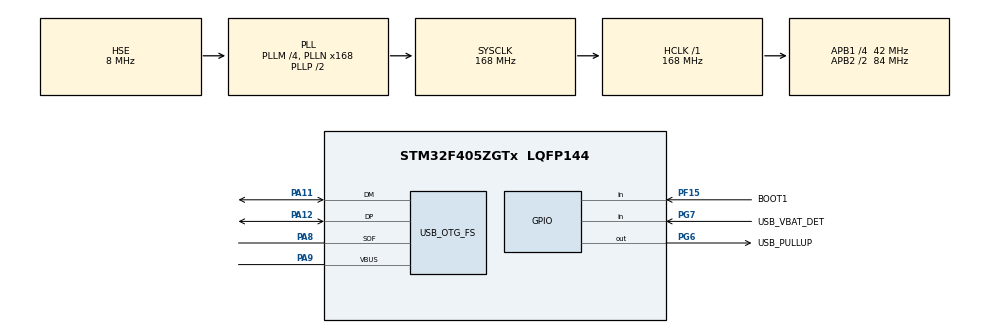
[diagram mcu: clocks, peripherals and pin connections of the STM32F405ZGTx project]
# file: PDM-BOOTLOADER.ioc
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Mcu.Family=STM32F4
Mcu.Name=STM32F405ZGTx
Mcu.Package=LQFP144
NVIC.OTG_FS_IRQn=true\:0\:0\:false\:false\:true\:false\:true\:true
NVIC.PriorityGroup=NVIC_PRIORITYGROUP_4
PA11.Mode=Device_Only
PA11.Signal=USB_OTG_FS_DM
PA12.Mode=Device_Only
PA12.Signal=USB_OTG_FS_DP
PA13.Mode=Serial_Wire
PA13.Signal=SYS_JTMS-SWDIO
PA14.Mode=Serial_Wire
PA14.Signal=SYS_JTCK-SWCLK
PA8.Mode=Activate_SOF_FS
PA8.Signal=USB_OTG_FS_SOF
PA9.Mode=Activate_VBUS
PA9.Signal=USB_OTG_FS_VBUS
PF15.GPIO_Label=BOOT1
PF15.GPIO_PuPd=GPIO_NOPULL
PF15.Signal=GPIO_Input
PG6.GPIO_Label=USB_PULLUP
PG6.GPIO_PuPd=GPIO_PULLUP
PG6.PinState=GPIO_PIN_SET
PG6.Signal=GPIO_Output
PG7.GPIO_Label=USB_VBAT_DET
PG7.GPIO_PuPd=GPIO_NOPULL
PG7.Signal=GPIO_Input
PH0-OSC_IN.Mode=HSE-External-Oscillator
PH0-OSC_IN.Signal=RCC_OSC_IN
PH1-OSC_OUT.Mode=HSE-External-Oscillator
PH1-OSC_OUT.Signal=RCC_OSC_OUT
ProjectManager.HeapSize=0x200
ProjectManager.StackSize=0x400
ProjectManager.TargetToolchain=STM32CubeIDE
RCC.48MHZClocksFreq_Value=48000000
RCC.AHBFreq_Value=168000000
RCC.APB1CLKDivider=RCC_HCLK_DIV4
RCC.APB1Freq_Value=42000000
RCC.APB1TimFreq_Value=84000000
RCC.APB2CLKDivider=RCC_HCLK_DIV2
RCC.APB2Freq_Value=84000000
RCC.APB2TimFreq_Value=168000000
RCC.CortexFreq_Value=168000000
RCC.HCLKFreq_Value=168000000
RCC.HSE_VALUE=8000000
RCC.HSI_VALUE=16000000
RCC.LSE_VALUE=32768
RCC.PLLM=4
RCC.PLLN=168
RCC.PLLQ=7
RCC.SYSCLKFreq_VALUE=168000000
RCC.SYSCLKSource=RCC_SYSCLKSOURCE_PLLCLK
RCC.VCOOutputFreq_Value=336000000
USB_DEVICE.CLASS_NAME_FS=DFU
USB_DEVICE.MANUFACTURER_STRING-DFU_FS=SIDER Ltd
USB_DEVICE.PRODUCT_STRING_DFU_FS=SIDER DownLoad Firmware Update
USB_DEVICE.VirtualMode-DFU_FS=Dfu
USB_DEVICE.VirtualModeFS=Dfu_FS
USB_OTG_FS.VirtualMode=Device_Only
VP_USB_DEVICE_VS_USB_DEVICE_DFU_FS.Mode=DFU_FS
board=custom

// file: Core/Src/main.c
/* USER CODE BEGIN Header */
/**
  ******************************************************************************
  * @file           : main.c
  * @brief          : Main program body
  ******************************************************************************
  * @attention
  *
  * Copyright (c) 2022 STMicroelectronics.
  * All rights reserved.
  *
  * This software is licensed under terms that can be found in the LICENSE file
  * in the root directory of this software component.
  * If no LICENSE file comes with this software, it is provided AS-IS.
  *
  ******************************************************************************
  */
/* USER CODE END Header */
#include "main.h"
#include "usb_device.h"

/* USER CODE BEGIN Includes */
#include "version.h"
#include "usbd_dfu_if.h"
/* USER CODE END Includes */

/* USER CODE BEGIN PTD */
volatile const uint32_t version __attribute__((section (".version"))) =  0U | ( ( ( uint32_t )( FIRMWARE_VERSION_MAJOR ) ) << 16U ) |
                                                                              ( ( ( uint32_t )( FIRMWARE_VERSION_MINOR ) ) << 8U )  |
                                                                                ( ( uint32_t )( FIRMWARE_VERSION_PATCH ) );
typedef  void (*pFunction)(void);
/* USER CODE END PTD */

void SystemClock_Config(void);
static void MX_GPIO_Init(void);

int main(void)
{

  /* MCU Configuration--------------------------------------------------------*/

  /* Reset of all peripherals, Initializes the Flash interface and the Systick. */
  HAL_Init();

  /* Configure the system clock */
  SystemClock_Config();

  /* Initialize all configured peripherals */
  MX_GPIO_Init();
  MX_USB_DEVICE_Init();
  /* USER CODE BEGIN 2 */
  if ( HAL_GPIO_ReadPin( USB_PULLUP_GPIO_Port, USB_PULLUP_Pin ) != GPIO_PIN_SET )
  {
    uint32_t  jumpAddress = *( __IO uint32_t* )( APP_ADDRESS + 4U );
    pFunction jump        = ( pFunction )jumpAddress;
    HAL_RCC_DeInit();
    HAL_DeInit();
    SysTick->CTRL = 0U;
    SysTick->LOAD = 0U;
    SysTick->VAL  = 0U;
    SCB->VTOR     = APP_ADDRESS;
    __set_MSP( *( __IO uint32_t* ) APP_ADDRESS );
    jump();
  }
  /* USER CODE END 2 */

  /* Infinite loop */
  while (1)
  {

  }
}

void SystemClock_Config(void)
{
  RCC_OscInitTypeDef RCC_OscInitStruct = {0};
  RCC_ClkInitTypeDef RCC_ClkInitStruct = {0};

  /** Configure the main internal regulator output voltage
  */
  __HAL_RCC_PWR_CLK_ENABLE();
  __HAL_PWR_VOLTAGESCALING_CONFIG(PWR_REGULATOR_VOLTAGE_SCALE1);

  /** Initializes the RCC Oscillators according to the specified parameters
  * in the RCC_OscInitTypeDef structure.
  */
  RCC_OscInitStruct.OscillatorType = RCC_OSCILLATORTYPE_HSE;
  RCC_OscInitStruct.HSEState = RCC_HSE_ON;
  RCC_OscInitStruct.PLL.PLLState = RCC_PLL_ON;
  RCC_OscInitStruct.PLL.PLLSource = RCC_PLLSOURCE_HSE;
  RCC_OscInitStruct.PLL.PLLM = 4;
  RCC_OscInitStruct.PLL.PLLN = 168;
  RCC_OscInitStruct.PLL.PLLP = RCC_PLLP_DIV2;
  RCC_OscInitStruct.PLL.PLLQ = 7;
  if (HAL_RCC_OscConfig(&RCC_OscInitStruct) != HAL_OK)
  {
    Error_Handler();
  }

  /** Initializes the CPU, AHB and APB buses clocks
  */
  RCC_ClkInitStruct.ClockType = RCC_CLOCKTYPE_HCLK|RCC_CLOCKTYPE_SYSCLK
                              |RCC_CLOCKTYPE_PCLK1|RCC_CLOCKTYPE_PCLK2;
  RCC_ClkInitStruct.SYSCLKSource = RCC_SYSCLKSOURCE_PLLCLK;
  RCC_ClkInitStruct.AHBCLKDivider = RCC_SYSCLK_DIV1;
  RCC_ClkInitStruct.APB1CLKDivider = RCC_HCLK_DIV4;
  RCC_ClkInitStruct.APB2CLKDivider = RCC_HCLK_DIV2;

  if (HAL_RCC_ClockConfig(&RCC_ClkInitStruct, FLASH_LATENCY_5) != HAL_OK)
  {
    Error_Handler();
  }
}

static void MX_GPIO_Init(void)
{
  GPIO_InitTypeDef GPIO_InitStruct = {0};

  /* GPIO Ports Clock Enable */
  __HAL_RCC_GPIOH_CLK_ENABLE();
  __HAL_RCC_GPIOF_CLK_ENABLE();
  __HAL_RCC_GPIOG_CLK_ENABLE();
  __HAL_RCC_GPIOA_CLK_ENABLE();

  /*Configure GPIO pin Output Level */
  HAL_GPIO_WritePin(USB_PULLUP_GPIO_Port, USB_PULLUP_Pin, GPIO_PIN_SET);

  /*Configure GPIO pin : BOOT1_Pin */
  GPIO_InitStruct.Pin = BOOT1_Pin;
  GPIO_InitStruct.Mode = GPIO_MODE_INPUT;
  GPIO_InitStruct.Pull = GPIO_NOPULL;
  HAL_GPIO_Init(BOOT1_GPIO_Port, &GPIO_InitStruct);

  /*Configure GPIO pin : USB_PULLUP_Pin */
  GPIO_InitStruct.Pin = USB_PULLUP_Pin;
  GPIO_InitStruct.Mode = GPIO_MODE_OUTPUT_PP;
  GPIO_InitStruct.Pull = GPIO_PULLUP;
  GPIO_InitStruct.Speed = GPIO_SPEED_FREQ_LOW;
  HAL_GPIO_Init(USB_PULLUP_GPIO_Port, &GPIO_InitStruct);

  /*Configure GPIO pin : USB_VBAT_DET_Pin */
  GPIO_InitStruct.Pin = USB_VBAT_DET_Pin;
  GPIO_InitStruct.Mode = GPIO_MODE_INPUT;
  GPIO_InitStruct.Pull = GPIO_NOPULL;
  HAL_GPIO_Init(USB_VBAT_DET_GPIO_Port, &GPIO_InitStruct);

}

void Error_Handler(void)
{
  __disable_irq();
  while (1)
  {
  }
}
